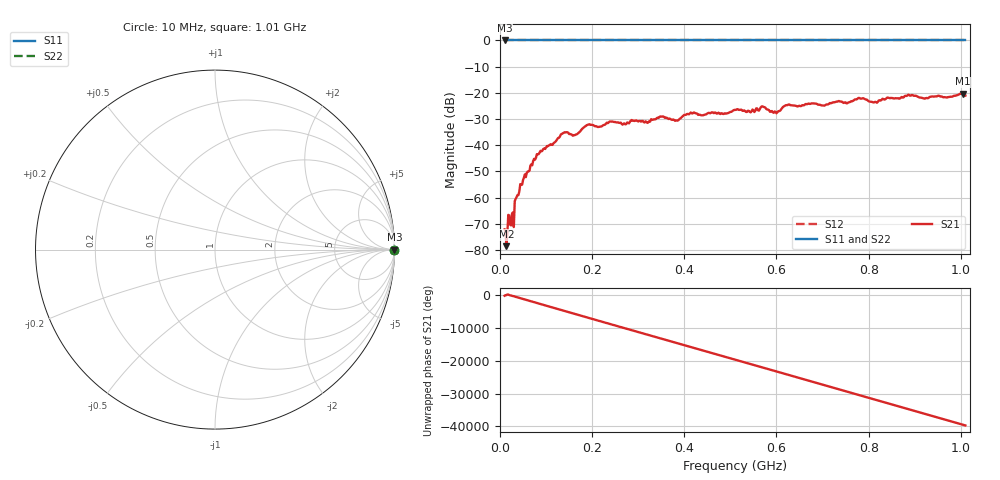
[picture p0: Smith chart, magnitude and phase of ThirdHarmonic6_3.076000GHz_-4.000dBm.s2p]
! 8/17/2025 9:00:15 AM
! C:\ANRITSUVNA\TEMP\TEMP.S2P
! CHANNEL.1
! TR.MEASUREMENT
! RAW.DATA
! RF.CORRECTION.OFF
! AVERAGING.OFF
! IF.BANDWIDTH: 5KHZ
! SWEEPTYPE:  FREQ.SWEEP(Linear)
! Reference Plane Port Info
! PORT:  PORT1  PORT2
! DISTANCE:  0  m  0  m
! TIME:  0  s  0  s
! PHASE.OFFSET:  0  deg.  0  deg.
! LOSS:  0  dB  0  dB
! REF.LOSS:  0  dB  0  dB
! REF.FREQ:  0  Hz  0  Hz
! Power Info
! POWER:  -20  dBm  -20  dBm
! EFF.POWER:  -20  dBm  -20  dBm
! SOURCE.ATTEN:  0  dB  0  dB
! TEST.ATTEN:  0  dB  0  dB
# GHZ S RI R 50.0
! FREQ.GHZ  S11RE  S11IM  S21RE  S21IM  S12RE  S12IM  S22RE  S22IM
!; PortSelection: Port_12
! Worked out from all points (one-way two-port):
!   501 points, 10 MHz to 1.01 GHz, reference 50 ohm
!   highest |S21| = -20.31 dB at 1.004 GHz (marker M1); lowest = -78.5 dB at 14 MHz (marker M2)
!   lowest |S11| = 0.0 dB at 10 MHz (marker M3)
!   |S11| at or under -10 dB: nowhere
!   |S22| runs from 0.0 to 0.0 dB; largest |S21 - S12| = 1.1
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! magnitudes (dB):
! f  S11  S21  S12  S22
! 10 MHz  0.0  -72.1  0.0  0.0
! 14 MHz  0.0  -78.5  0.0  0.0
! 22 MHz  0.0  -70.3  0.0  0.0
! 26 MHz  0.0  -66.2  0.0  0.0
! 36 MHz  0.0  -59.8  0.0  0.0
! 48 MHz  0.0  -55.1  0.0  0.0
! 84 MHz  0.0  -43.4  0.0  0.0
! 136 MHz  0.0  -35.5  0.0  0.0
! 162 MHz  0.0  -36.2  0.0  0.0
! 178 MHz  0.0  -33.8  0.0  0.0
! 192 MHz  0.0  -32.1  0.0  0.0
! 344 MHz  0.0  -29.6  0.0  0.0
! 384 MHz  0.0  -30.6  0.0  0.0
! 416 MHz  0.0  -27.8  0.0  0.0
! 510 MHz  0.0  -26.5  0.0  0.0
! 570 MHz  0.0  -25.2  0.0  0.0
! 598 MHz  0.0  -27.2  0.0  0.0
! 624 MHz  0.0  -24.7  0.0  0.0
! 678 MHz  0.0  -24.0  0.0  0.0
! 844 MHz  0.0  -21.9  0.0  0.0
! 1.004 GHz  0.0  -20.3  0.0  0.0
! 1.01 GHz  0.0  -21.1  0.0  0.0
